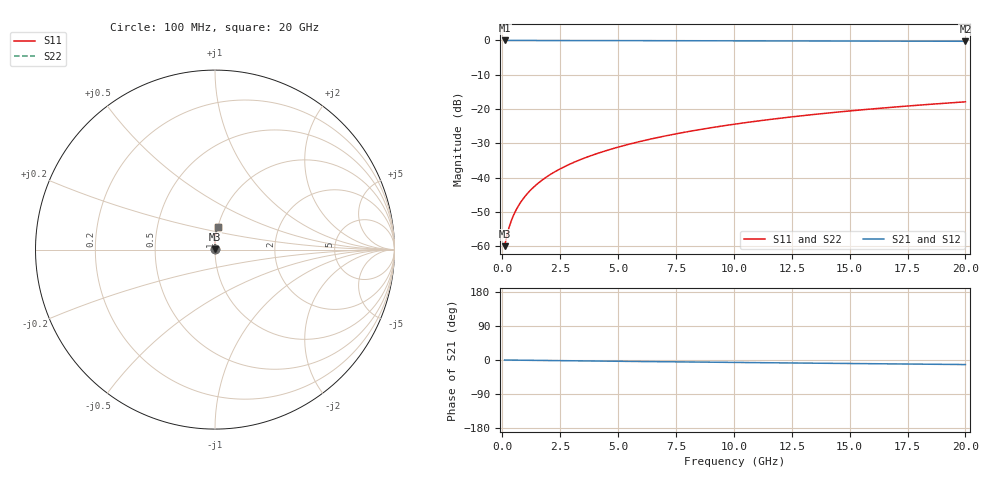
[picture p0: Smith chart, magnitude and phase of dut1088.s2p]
! Touchstone file exported from HFSS 2024.1.0
!  File:  C:/UserFiles/LocalFiles/RDL_TSV_Batchsim/temp_RDL_bottom_1088_1780053460.aedt
!  Generated:  07:19:57 PM May 29, 2026
!  Design:  RDL_bottom
!  Project:  temp_RDL_bottom_1088_1780053460
!  Setup:  Setup1
!  Solution:  Sweep
! Variables:
!  dtsv = 10.80580581um
!  hbump = 3um
!  htsv = 85.4um
!  ldown = 146.45um
!  lrdl = 100um
!  p = 40
!  p1 = 48.56um
!  rhole = 1um
!  t = 450um
!  tdown = 3.62um
!  trdl = 3.915915916um
!  wdown = 24.85um
!  wrdl = 20um
# GHz S MA R 50.000000
! Terminal data exported
! Port[1] = RDL1_T1
! Port[2] = RDL1_T2
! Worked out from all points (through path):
!   200 points, 100 MHz to 20 GHz, reference 50 ohm
!   highest |S21| = -0.01 dB at 100 MHz (marker M1); lowest = -0.2 dB at 20 GHz (marker M2)
!   group delay of S21, straight-line fit = 1.65 ps
!   lowest |S11| = -60.0 dB at 100 MHz (marker M3), VSWR 1.00, Z = 50.1 + j0.0592 ohm
!   |S11| at or under -10 dB: start of sweep to end of sweep
!   |S22| runs from -60.0 to -17.9 dB; largest |S21 - S12| = 7.5e-15
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0.1  0.001002 36.2  0.9992 -0.1  0.9992 -0.1  0.001002 36.2
! Gamma 0 0 0 0
! Port Impedance 50 0 50 0
0.2  0.001435 53.7  0.9991 -0.1  0.9991 -0.1  0.001435 53.7
0.3  0.001915 62.4  0.9991 -0.2  0.9991 -0.2  0.001915 62.4
0.4  0.002403 67.6  0.999 -0.3  0.999 -0.3  0.002403 67.6
0.5  0.002896 71.3  0.999 -0.4  0.999 -0.4  0.002896 71.3
0.6  0.003394 74.0  0.9989 -0.4  0.9989 -0.4  0.003394 74.0
0.8  0.004404 77.8  0.9989 -0.6  0.9989 -0.6  0.004404 77.8
1.1  0.005947 81.3  0.9987 -0.8  0.9987 -0.8  0.005947 81.3
1.3  0.006989 82.9  0.9986 -0.9  0.9986 -0.9  0.006989 82.9
1.6  0.00857 84.7  0.9984 -1.1  0.9984 -1.1  0.00857 84.7
2.1  0.01125 86.7  0.998 -1.5  0.998 -1.5  0.01125 86.7
2.7  0.01453 88.2  0.9974 -1.9  0.9974 -1.9  0.01453 88.2
3.5  0.01902 89.6  0.9965 -2.4  0.9965 -2.4  0.01902 89.6
4.2  0.02307 90.4  0.9955 -2.9  0.9955 -2.9  0.02307 90.4
5  0.02782 90.9  0.9943 -3.4  0.9943 -3.4  0.02782 90.9
5.9  0.03333 91.3  0.9929 -3.9  0.9929 -3.9  0.03333 91.3
6.8  0.03899 91.3  0.9914 -4.5  0.9914 -4.5  0.03899 91.3
8.4  0.04935 91.0  0.9888 -5.5  0.9888 -5.5  0.04935 91.0
10.1  0.06064 90.3  0.9861 -6.5  0.9861 -6.5  0.06064 90.3
13.4  0.08294 88.2  0.9812 -8.3  0.9812 -8.3  0.08293 88.2
16.7  0.1053 85.9  0.9766 -10.2  0.9766 -10.2  0.1053 85.9
20  0.1274 83.5  0.9722 -12.0  0.9722 -12.0  0.1274 83.5
